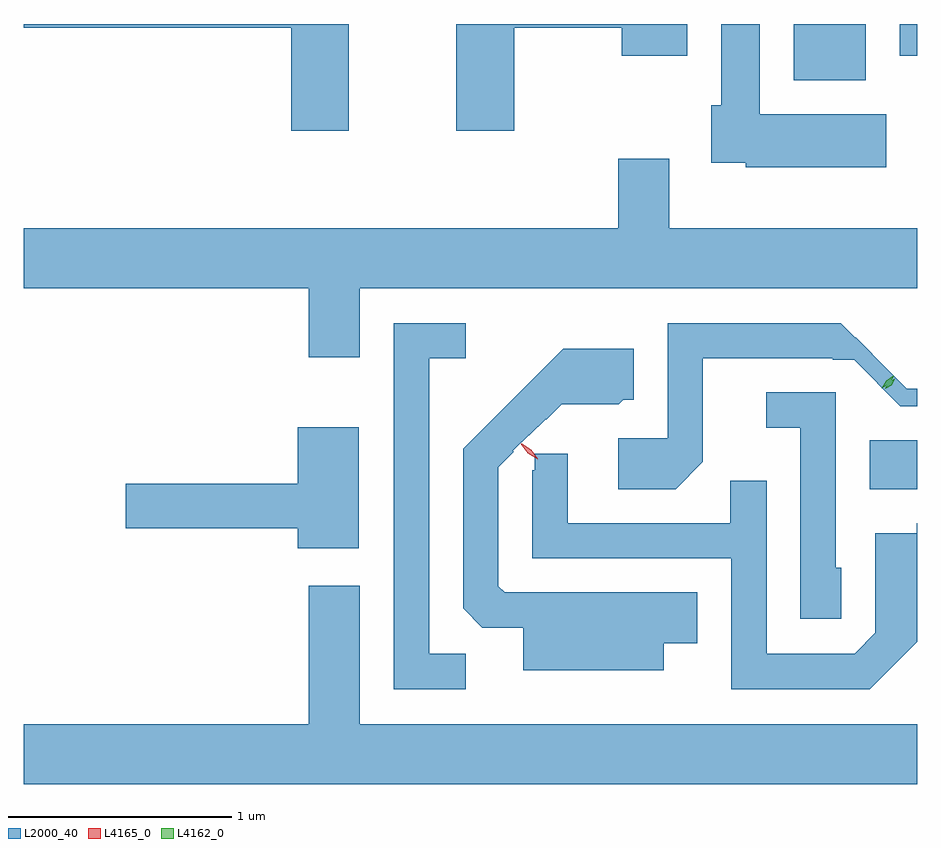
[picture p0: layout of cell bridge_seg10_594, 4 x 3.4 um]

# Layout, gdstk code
import gdstk
lib = gdstk.Library(unit=1e-6, precision=1e-09)
def R(c, l, rs):  # rectangles x0, y0, x1, y1
    for r in rs: c.add(gdstk.rectangle(r[:2], r[2:], *l))
def P(c, l, *ps):  # polygons
    for p in ps: c.add(gdstk.Polygon(p, *l))
L2000_40 = (2000, 40)
L4162_0 = (4162, 0)
L4165_0 = (4165, 0)

bridge_seg10_594 = lib.new_cell('bridge_seg10_594')
R(bridge_seg10_594, L2000_40, [(640.396,2141.876,640.609,2142.094), (640.056,2143.706,640.379,2143.958), (640.531,2143.816,640.609,2143.958)])
P(bridge_seg10_594, L2000_40, [(640.469,2143.554),(639.904,2143.554),(639.904,2143.958),(639.731,2143.958),(639.731,2143.594),(639.686,2143.594),(639.686,2143.336),(639.841,2143.336),(639.841,2143.316),(640.469,2143.316)],
  [(638.064,2143.958),(636.609,2143.958),(636.609,2143.941),(637.806,2143.941),(637.806,2143.481),(638.064,2143.481)],
  [(638.804,2143.941),(639.286,2143.941),(639.286,2143.816),(639.579,2143.816),(639.579,2143.958),(638.546,2143.958),(638.546,2143.481),(638.804,2143.481)],
  [(638.114,2142.776),(640.609,2142.776),(640.609,2143.044),(639.499,2143.044),(639.499,2143.354),(639.271,2143.354),(639.271,2143.044),(636.609,2143.044),(636.609,2142.776),(637.886,2142.776),(637.886,2142.466),(638.114,2142.466)],
  [(639.649,2141.999),(639.649,2142.461),(640.23,2142.461),(640.23,2142.454),(640.326,2142.454),(640.533,2142.247),(640.609,2142.247),(640.609,2142.325),(640.561,2142.325),(640.407,2142.48),(640.408,2142.481),(640.334,2142.556),(640.332,2142.553),(640.266,2142.619),(639.491,2142.619),(639.491,2142.104),(639.271,2142.104),(639.271,2141.876),(639.527,2141.876)],
  [(638.588,2141.139),(638.424,2141.139),(638.424,2142.461),(638.588,2142.461),(638.588,2142.619),(638.266,2142.619),(638.266,2140.981),(638.588,2140.981)],
  [(639.474,2141.186),(639.624,2141.186),(639.624,2141.414),(638.762,2141.414),(638.734,2141.442),(638.734,2141.974),(638.803,2142.043),(638.799,2142.047),(638.871,2142.119),(638.873,2142.117),(638.945,2142.189),(638.948,2142.187),(639.018,2142.256),(639.272,2142.256),(639.292,2142.276),(639.339,2142.276),(639.339,2142.504),(639.024,2142.504),(638.576,2142.057),(638.576,2141.342),(638.662,2141.256),(638.846,2141.256),(638.846,2141.066),(639.474,2141.066)],
  [(640.269,2141.524),(640.244,2141.524),(640.244,2142.309),(639.933,2142.309),(639.933,2142.151),(640.086,2142.151),(640.086,2141.296),(640.269,2141.296)],
  [(638.109,2142.154),(637.836,2142.154),(637.836,2141.899),(637.066,2141.899),(637.066,2141.701),(637.836,2141.701),(637.836,2141.611),(638.109,2141.611)],
  [(640.609,2141.193),(640.609,2141.724),(640.606,2141.724),(640.606,2141.679),(640.421,2141.679),(640.421,2141.232),(640.329,2141.139),(639.934,2141.139),(639.934,2141.913),(639.771,2141.913),(639.771,2141.724),(639.044,2141.724),(639.044,2142.035),(638.896,2142.035),(638.896,2141.96),(638.886,2141.96),(638.886,2141.566),(639.776,2141.566),(639.776,2140.981),(640.397,2140.981)],
  [(640.609,2140.824),(638.114,2140.824),(638.114,2141.444),(637.886,2141.444),(637.886,2140.824),(636.609,2140.824),(636.609,2140.556),(640.609,2140.556)])
P(bridge_seg10_594, L4162_0, [(640.451,2142.328),(640.451,2142.328),(640.47,2142.362),(640.502,2142.383),(640.503,2142.383),(640.503,2142.382),(640.484,2142.348),(640.451,2142.328)],
  [(640.466,2142.325),(640.466,2142.326),(640.48,2142.354),(640.507,2142.369),(640.508,2142.369),(640.508,2142.368),(640.494,2142.34),(640.466,2142.325)])
P(bridge_seg10_594, L4165_0, [(638.908,2142.011),(638.867,2142.038),(638.839,2142.079),(638.839,2142.079),(638.84,2142.079),(638.881,2142.052),(638.909,2142.012),(638.909,2142.011)],
  [(638.91,2142.009),(638.866,2142.036),(638.835,2142.078),(638.835,2142.078),(638.836,2142.078),(638.88,2142.051),(638.911,2142.01),(638.911,2142.009)])

lib.write_gds('bridge_seg10_594.gds')
